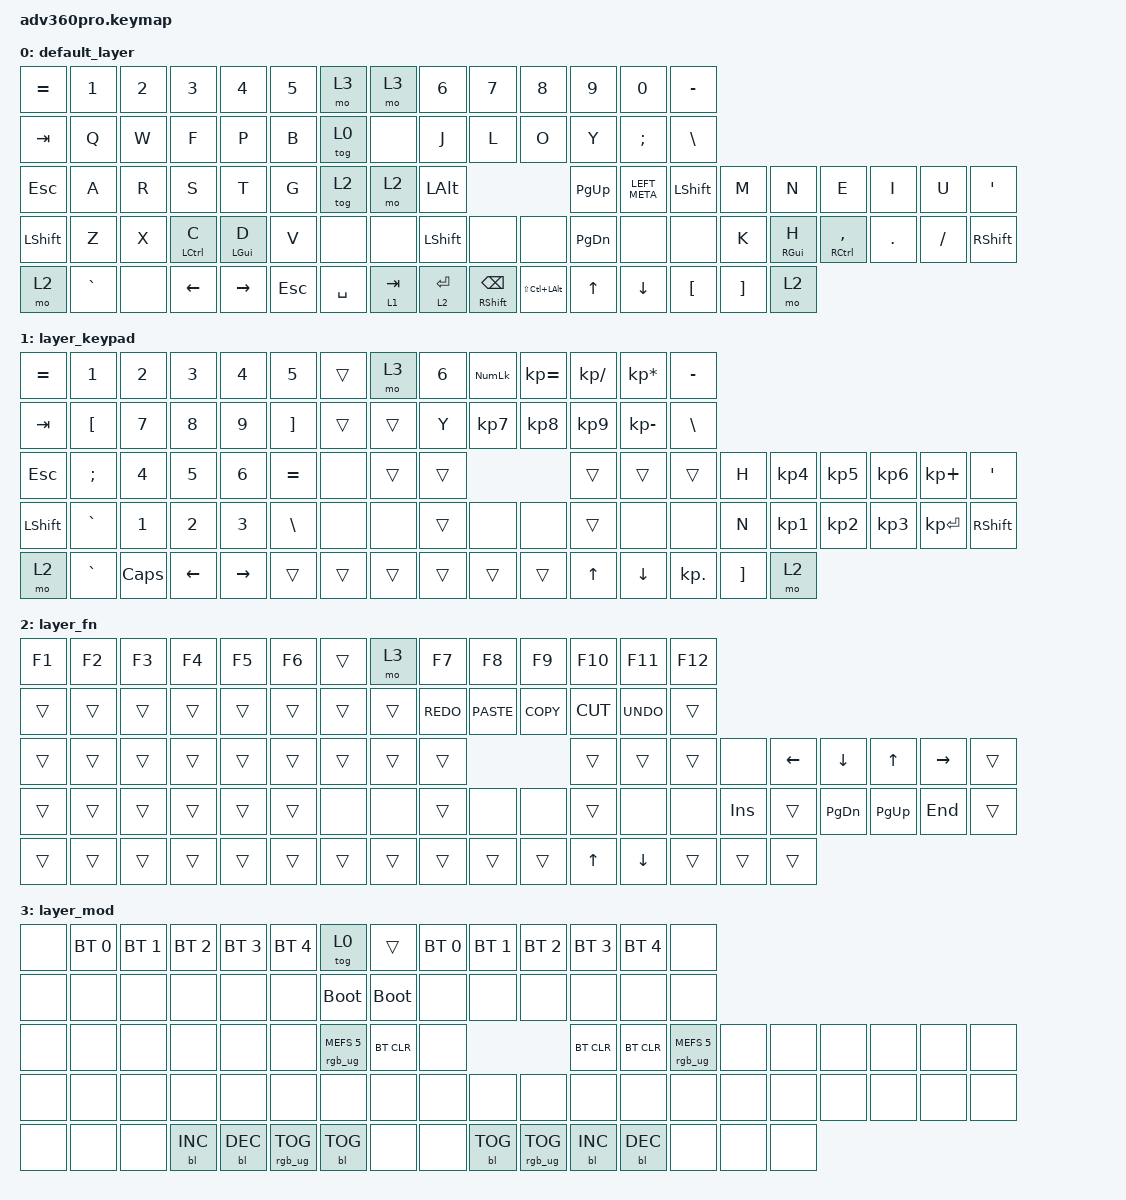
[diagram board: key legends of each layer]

#include <behaviors.dtsi>
#include <dt-bindings/zmk/keys.h>
#include <dt-bindings/zmk/bt.h>
#include <dt-bindings/zmk/rgb.h>
#include <dt-bindings/zmk/backlight.h>

#define HYPER  LS(LC(LALT))

/ {
  behaviors {
    #include "macros.dtsi"

    hm: homerow_mods {
        compatible = "zmk,behavior-hold-tap";
        label = "HOMEROW_MODS";
        #binding-cells = <2>;
        tapping-term-ms = <150>;
        quick-tap-ms = <0>;
        flavor = "tap-preferred";
        bindings = <&kp>, <&kp>;
       global-quick-tap;
    };
  };

    keymap {
        compatible = "zmk,keymap";


        default_layer {
            bindings = <
// Row 1
&kp EQUAL  &kp N1  &kp N2  &kp N3  &kp N4  &kp N5  &mo 3                         &mo 3  &kp N6  &kp N7  &kp N8  &kp N9  &kp N0  &kp MINUS
// Row 2
&kp TAB  &kp Q  &kp W  &kp F  &kp P  &kp B  &tog 0                                  &none  &kp J  &kp L  &kp O  &kp Y  &kp SEMI  &kp BSLH
// Row 3, with 4 middle bottons
&kp ESC  &kp A  &kp R  &kp S  &kp T  &kp G  &tog 2           &mo 2  &kp LEFT_ALT  &kp PG_UP &kp LEFT_META            &kp LEFT_SHIFT  &kp M  &kp N  &kp E  &kp I  &kp U  &kp SQT
// Row 4 Left - 6
&kp LSHFT  &kp Z  &kp X  &hm LEFT_CONTROL C  &hm LEFT_GUI D  &kp V                &none  &none        &kp LEFT_SHIFT      &none  &none    &kp PG_DN   &none  &none        &kp K  &hm RIGHT_GUI H  &hm RIGHT_CONTROL COMMA  &kp DOT  &kp FSLH  &kp RSHFT
// Row 4 Left - 6
&mo 2  &kp GRAVE  &none  &kp LEFT_ARROW  &kp RIGHT_ARROW
// Left bottom thumb cluster
&kp ESCAPE  &kp SPACE &lt 1 TAB
// Right bottom thumb cluster
&lt 2 ENTER  &hm RIGHT_SHIFT BACKSPACE  &kp HYPER
&kp UP_ARROW  &kp DOWN_ARROW  &kp LBKT  &kp RBKT  &mo 2
            >;
        };

        layer_keypad {
            bindings = <
 &kp EQUAL            &kp N1        &kp N2        &kp N3        &kp N4             &kp N5            &trans   &mo 3  &kp N6  &kp KP_NUM  &kp KP_EQUAL  &kp KP_DIVIDE  &kp KP_MULTIPLY   &kp MINUS
   &kp TAB  &kp LEFT_BRACKET  &kp NUMBER_7  &kp NUMBER_8  &kp NUMBER_9  &kp RIGHT_BRACKET            &trans  &trans   &kp Y   &kp KP_N7     &kp KP_N8      &kp KP_N9     &kp KP_MINUS    &kp BSLH
   &kp ESC     &kp SEMICOLON  &kp NUMBER_4        &kp N5        &kp N6          &kp EQUAL             &none  &trans  &trans                                   &trans           &trans      &trans     &kp H  &kp KP_N4  &kp KP_N5  &kp KP_N6   &kp KP_PLUS    &kp SQT
 &kp LSHFT         &kp GRAVE        &kp N1        &kp N2        &kp N3      &kp BACKSLASH             &none   &none  &trans       &none         &none         &trans            &none       &none     &kp N  &kp KP_N1  &kp KP_N2  &kp KP_N3  &kp KP_ENTER  &kp RSHFT
     &mo 2         &kp GRAVE      &kp CAPS      &kp LEFT     &kp RIGHT             &trans            &trans  &trans  &trans      &trans        &trans         &kp UP         &kp DOWN  &kp KP_DOT  &kp RBKT      &mo 2
            >;
        };

        layer_fn {
            bindings = <
 &kp F1  &kp F2  &kp F3  &kp F4  &kp F5  &kp F6            &trans   &mo 3      &kp F7       &kp F8      &kp F9       &kp F10         &kp F11  &kp F12
 &trans  &trans  &trans  &trans  &trans  &trans            &trans  &trans  &kp K_REDO  &kp K_PASTE  &kp K_COPY     &kp K_CUT      &kp K_UNDO   &trans
 &trans  &trans  &trans  &trans  &trans  &trans            &trans  &trans      &trans                                 &trans          &trans   &trans       &none  &kp LEFT_ARROW  &kp DOWN_ARROW  &kp UP_ARROW  &kp RIGHT_ARROW  &trans
 &trans  &trans  &trans  &trans  &trans  &trans             &none   &none      &trans        &none       &none        &trans           &none    &none  &kp INSERT          &trans   &kp PAGE_DOWN   &kp PAGE_UP          &kp END  &trans
 &trans  &trans  &trans  &trans  &trans  &trans            &trans  &trans      &trans       &trans      &trans  &kp UP_ARROW  &kp DOWN_ARROW   &trans      &trans          &trans
            >;
        };

        layer_mod {
            bindings = <
  &none  &bt BT_SEL 0  &bt BT_SEL 1  &bt BT_SEL 2  &bt BT_SEL 3     &bt BT_SEL 4                            &tog 0       &trans  &bt BT_SEL 0  &bt BT_SEL 1     &bt BT_SEL 2  &bt BT_SEL 3  &bt BT_SEL 4                   &none
  &none         &none         &none         &none         &none            &none                            &bootloader  &bootloader         &none         &none            &none         &none         &none                   &none
  &none         &none         &none         &none         &none            &none            &rgb_ug RGB_MEFS_CMD 5   &bt BT_CLR         &none                                   &bt BT_CLR    &bt BT_CLR  &rgb_ug RGB_MEFS_CMD 5   &none   &none   &none   &none   &none   &none
  &none         &none         &none         &none         &none            &none                             &none        &none         &none         &none            &none         &none         &none                   &none   &none   &none   &none   &none   &none   &none
  &none         &none         &none    &bl BL_INC    &bl BL_DEC  &rgb_ug RGB_TOG                        &bl BL_TOG        &none         &none    &bl BL_TOG  &rgb_ug RGB_TOG    &bl BL_INC    &bl BL_DEC                   &none   &none   &none
            >;
        };
    };
};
